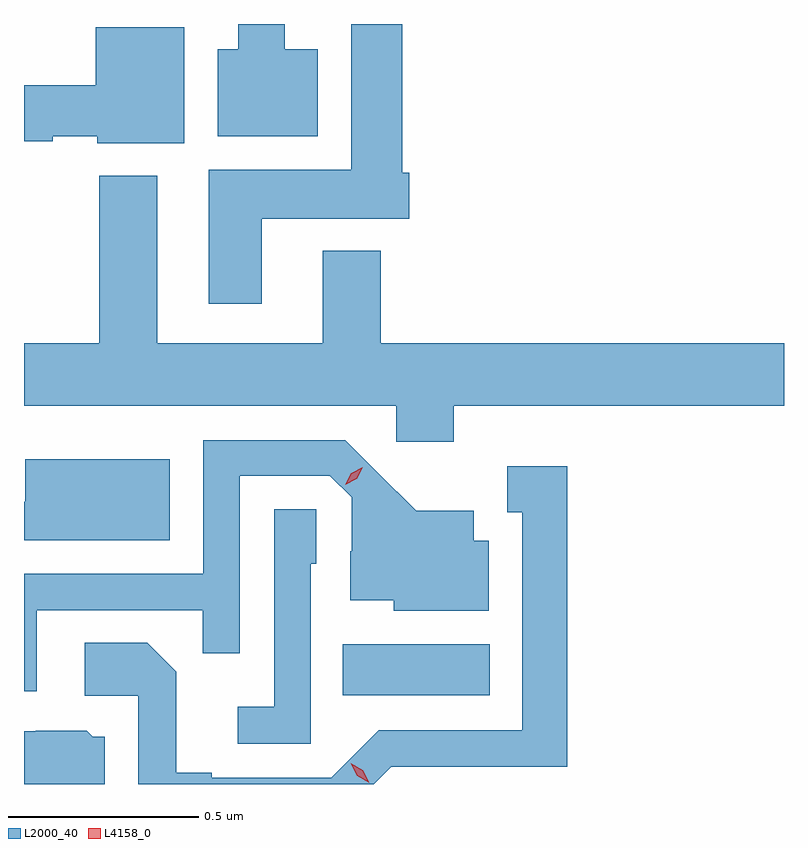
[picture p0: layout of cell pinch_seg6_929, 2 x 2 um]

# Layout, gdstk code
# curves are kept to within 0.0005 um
import gdstk
lib = gdstk.Library(unit=1e-6, precision=1e-09)
def R(c, l, rs):  # rectangles x0, y0, x1, y1
    for r in rs: c.add(gdstk.rectangle(r[:2], r[2:], *l))
def P(c, l, *ps):  # polygons
    for p in ps: c.add(gdstk.Polygon(p, *l))
L2000_40 = (2000, 40)
L4158_0 = (4158, 0)

pinch_seg6_929 = lib.new_cell('pinch_seg6_929')
R(pinch_seg6_929, L2000_40, [(119.164,921.266,119.551,921.4)])
P(pinch_seg6_929, L2000_40, [(118.951,922.52),(119.339,922.52),(119.339,922.641),(119.321,922.641),(119.321,923.032),(119.186,923.032),(119.186,922.648),(118.811,922.648),(118.811,922.296),(118.951,922.296)],
  [(119.098,922.966),(119.011,922.966),(119.011,923.032),(118.889,923.032),(118.889,922.966),(118.835,922.966),(118.835,922.736),(119.098,922.736)],
  [(118.747,923.023),(118.514,923.023),(118.514,922.871),(118.325,922.871),(118.325,922.724),(118.401,922.724),(118.401,922.736),(118.518,922.736),(118.518,922.718),(118.747,922.718)],
  [(119.456,922.028),(120.325,922.028),(120.325,922.192),(119.264,922.192),(119.264,922.435),(119.111,922.435),(119.111,922.192),(118.675,922.192),(118.675,922.633),(118.523,922.633),(118.523,922.192),(118.325,922.192),(118.325,922.028),(119.304,922.028),(119.304,921.933),(119.456,921.933)],
  [(118.359,921.489),(118.795,921.489),(118.795,921.376),(118.893,921.376),(118.893,921.843),(119.13,921.843),(119.187,921.786),(119.187,921.644),(119.183,921.644),(119.183,921.515),(119.298,921.515),(119.298,921.488),(119.548,921.488),(119.548,921.672),(119.509,921.672),(119.509,921.751),(119.357,921.751),(119.17,921.936),(118.797,921.936),(118.797,921.585),(118.325,921.585),(118.325,921.276),(118.359,921.276)],
  [(118.708,921.886),(118.328,921.886),(118.328,921.775),(118.325,921.775),(118.325,921.674),(118.708,921.674)],
  [(119.292,921.078),(119.514,921.078),(119.514,921.077),(119.755,921.077),(119.755,921.868),(119.597,921.868),(119.597,921.747),(119.636,921.747),(119.636,921.174),(119.259,921.174),(119.133,921.048),(118.819,921.048),(118.819,921.061),(118.725,921.061),(118.725,921.328),(118.649,921.404),(118.485,921.404),(118.485,921.264),(118.626,921.264),(118.626,921.032),(119.246,921.032)],
  [(119.079,921.612),(119.094,921.612),(119.094,921.755),(118.983,921.755),(118.983,921.235),(118.887,921.235),(118.887,921.138),(119.079,921.138)],
  [(118.537,921.156),(118.506,921.156),(118.49,921.172),(118.356,921.172),(118.356,921.171),(118.325,921.171),(118.325,921.032),(118.537,921.032)])
P(pinch_seg6_929, L4158_0, [(119.234,921.035),(119.202,921.054),(119.185,921.086),(119.185,921.086),(119.185,921.086),(119.217,921.068),(119.234,921.035),(119.234,921.035)],
  [(119.17,921.82),(119.17,921.82),(119.186,921.85),(119.217,921.865),(119.217,921.865),(119.217,921.865),(119.2,921.835),(119.17,921.82)])

lib.write_gds('pinch_seg6_929.gds')
